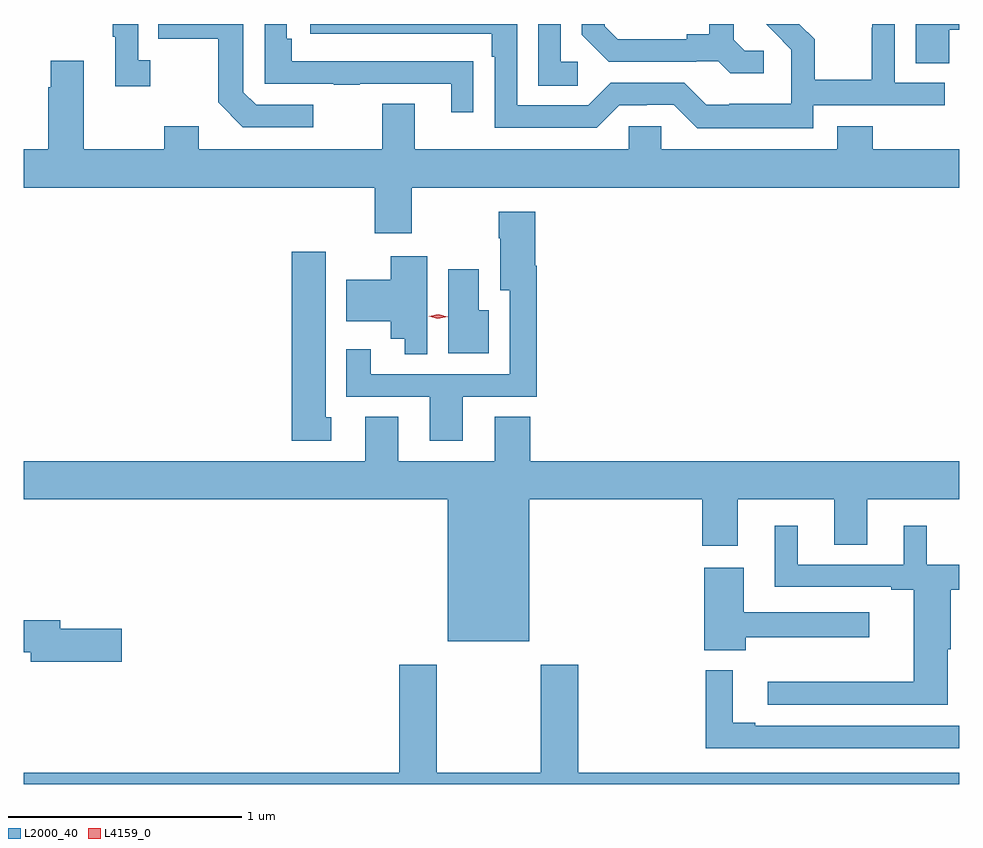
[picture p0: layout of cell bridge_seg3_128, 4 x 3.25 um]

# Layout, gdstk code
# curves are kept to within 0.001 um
import gdstk
lib = gdstk.Library(unit=1e-6, precision=1e-09)
def P(c, l, *ps):  # polygons
    for p in ps: c.add(gdstk.Polygon(p, *l))
L2000_40 = (2000, 40)
L4159_0 = (4159, 0)

bridge_seg3_128 = lib.new_cell('bridge_seg3_128')
P(bridge_seg3_128, L2000_40, [(152.04,669.3),(152.602,669.3),(152.602,669.396),(152.388,669.396),(152.388,669.648),(152.292,669.648),(152.292,669.632),(152.29,669.632),(152.29,669.409),(152.045,669.409),(152.045,669.583),(151.98,669.648),(151.838,669.648),(151.946,669.538),(151.946,669.441),(151.944,669.441),(151.944,669.307),(151.681,669.307),(151.681,669.303),(151.581,669.303),(151.488,669.396),(151.173,669.396),(151.077,669.3),(150.774,669.3),(150.774,669.648),(149.889,669.648),(149.889,669.606),(150.665,669.606),(150.665,669.509),(150.678,669.509),(150.678,669.204),(151.113,669.204),(151.209,669.3),(151.328,669.3),(151.328,669.303),(151.443,669.303),(151.543,669.203),(152.04,669.203)],
  [(149.206,669.494),(149.154,669.494),(149.154,669.648),(149.046,669.648),(149.046,669.593),(149.057,669.593),(149.057,669.381),(149.206,669.381)],
  [(149.902,669.303),(149.658,669.303),(149.604,669.357),(149.604,669.648),(149.239,669.648),(149.239,669.586),(149.496,669.586),(149.496,669.313),(149.601,669.207),(149.902,669.207)],
  [(150.587,669.488),(150.485,669.488),(150.485,669.489),(149.81,669.489),(149.81,669.586),(149.79,669.586),(149.79,669.648),(149.694,669.648),(149.694,669.393),(149.989,669.393),(149.989,669.388),(150.101,669.388),(150.101,669.393),(150.491,669.393),(150.491,669.27),(150.587,669.27)],
  [(151.828,669.534),(151.746,669.534),(151.699,669.581),(151.699,669.648),(151.595,669.648),(151.595,669.605),(151.499,669.605),(151.499,669.582),(151.204,669.582),(151.147,669.639),(151.147,669.648),(151.05,669.648),(151.05,669.602),(151.166,669.486),(151.538,669.486),(151.538,669.489),(151.632,669.489),(151.684,669.437),(151.828,669.437)],
  [(151.033,669.486),(150.96,669.486),(150.96,669.648),(150.864,669.648),(150.864,669.385),(151.033,669.385)],
  [(152.621,669.623),(152.664,669.623),(152.664,669.648),(152.477,669.648),(152.477,669.481),(152.621,669.481)],
  [(150.324,668.948),(152.664,668.948),(152.664,669.112),(152.294,669.112),(152.294,669.211),(152.141,669.211),(152.141,669.112),(151.389,669.112),(151.389,669.21),(151.251,669.21),(151.251,669.112),(150.337,669.112),(150.337,669.307),(150.197,669.307),(150.197,669.112),(149.413,669.112),(149.413,669.211),(149.266,669.211),(149.266,669.112),(148.921,669.112),(148.921,669.49),(148.781,669.49),(148.781,669.377),(148.769,669.377),(148.769,669.112),(148.664,669.112),(148.664,668.948),(150.164,668.948),(150.164,668.754),(150.324,668.754)],
  [(150.541,668.055),(150.857,668.055),(150.857,668.614),(150.851,668.614),(150.851,668.845),(150.694,668.845),(150.694,668.732),(150.701,668.732),(150.701,668.51),(150.741,668.51),(150.741,668.151),(150.148,668.151),(150.148,668.257),(150.044,668.257),(150.044,668.055),(150.401,668.055),(150.401,667.866),(150.541,667.866)],
  [(149.98,667.968),(149.956,667.968),(149.956,668.674),(149.81,668.674),(149.81,667.866),(149.98,667.866)],
  [(150.39,668.656),(150.233,668.656),(150.233,668.554),(150.044,668.554),(150.044,668.378),(150.233,668.378),(150.233,668.303),(150.293,668.303),(150.293,668.236),(150.39,668.236)],
  [(150.652,668.425),(150.61,668.425),(150.61,668.599),(150.479,668.599),(150.479,668.24),(150.652,668.24)],
  [(150.826,667.616),(151.565,667.616),(151.565,667.419),(151.717,667.419),(151.717,667.616),(152.129,667.616),(152.129,667.423),(152.269,667.423),(152.269,667.616),(152.664,667.616),(152.664,667.78),(150.83,667.78),(150.83,667.97),(150.677,667.97),(150.677,667.78),(150.265,667.78),(150.265,667.97),(150.125,667.97),(150.125,667.78),(148.664,667.78),(148.664,667.616),(150.476,667.616),(150.476,667.01),(150.826,667.01)],
  [(152.614,666.975),(152.626,666.975),(152.626,667.23),(152.664,667.23),(152.664,667.338),(152.524,667.338),(152.524,667.504),(152.426,667.504),(152.426,667.338),(151.972,667.338),(151.972,667.504),(151.874,667.504),(151.874,667.242),(152.372,667.242),(152.372,667.23),(152.468,667.23),(152.468,666.836),(151.845,666.836),(151.845,666.738),(152.614,666.738)],
  [(151.751,667.028),(152.278,667.028),(152.278,667.135),(151.741,667.135),(151.741,667.324),(151.574,667.324),(151.574,666.971),(151.751,666.971)],
  [(149.083,667.064),(148.822,667.064),(148.822,667.1),(148.664,667.1),(148.664,666.964),(148.694,666.964),(148.694,666.922),(149.083,666.922)],
  [(150.429,666.91),(150.269,666.91),(150.269,666.448),(148.664,666.448),(148.664,666.4),(152.664,666.4),(152.664,666.448),(151.034,666.448),(151.034,666.91),(150.874,666.91),(150.874,666.448),(150.429,666.448)],
  [(152.664,666.648),(151.792,666.648),(151.792,666.661),(151.696,666.661),(151.696,666.886),(151.579,666.886),(151.579,666.552),(152.664,666.552)])
P(bridge_seg3_128, L4159_0, [(150.435,668.388),(150.395,668.399),(150.395,668.4),(150.395,668.4),(150.436,668.408),(150.476,668.397),(150.476,668.397),(150.476,668.396)])

lib.write_gds('bridge_seg3_128.gds')
